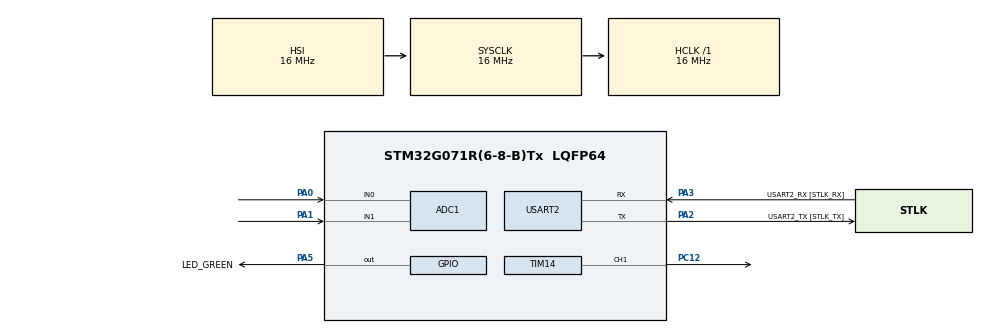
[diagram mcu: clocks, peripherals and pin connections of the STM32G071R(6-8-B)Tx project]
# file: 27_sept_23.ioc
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ADC1.Channel-0\#ChannelRegularConversion=ADC_CHANNEL_0
ADC1.Channel-2\#ChannelRegularConversion=ADC_CHANNEL_1
ADC1.ContinuousConvMode=DISABLE
ADC1.DiscontinuousConvMode=DISABLE
ADC1.NbrOfConversion=2
ADC1.NbrOfConversionFlag=1
ADC1.Rank-0\#ChannelRegularConversion=1
ADC1.Rank-2\#ChannelRegularConversion=2
ADC1.SamplingTime-0\#ChannelRegularConversion=ADC_SAMPLINGTIME_COMMON_1
ADC1.SamplingTime-2\#ChannelRegularConversion=ADC_SAMPLINGTIME_COMMON_1
ADC1.SelectedChannel=ADC_CHANNEL_0|ADC_CHANNEL_1
ADC1.master=1
Mcu.Family=STM32G0
Mcu.Name=STM32G071R(6-8-B)Tx
Mcu.Package=LQFP64
NVIC.TIM14_IRQn=true\:0\:0\:false\:false\:true\:true\:true
PA0.Mode=IN0
PA0.Signal=ADC1_IN0
PA1.Mode=IN1
PA1.Signal=ADC1_IN1
PA13.GPIO_Label=TMS
PA13.Signal=SYS_SWDIO
PA14-BOOT0.GPIO_Label=TCK
PA14-BOOT0.Signal=SYS_SWCLK
PA2.GPIO_Label=USART2_TX [STLK_TX]
PA2.Mode=Asynchronous
PA2.Signal=USART2_TX
PA3.GPIO_Label=USART2_RX [STLK_RX]
PA3.Mode=Asynchronous
PA3.Signal=USART2_RX
PA5.GPIO_Label=LED_GREEN
PA5.GPIO_Speed=GPIO_SPEED_FREQ_HIGH
PA5.Signal=GPIO_Output
PC12.Signal=S_TIM14_CH1
PC13.Signal=SYS_WKUP2
PC14-OSC32_IN\ (PC14).Signal=RCC_OSC32_IN
PC15-OSC32_OUT\ (PC15).Signal=RCC_OSC32_OUT
PF0-OSC_IN\ (PF0).GPIO_Label=MCO
PF0-OSC_IN\ (PF0).Signal=RCC_OSC_IN
ProjectManager.HeapSize=0x200
ProjectManager.StackSize=0x400
ProjectManager.TargetToolchain=STM32CubeIDE
RCC.AHBFreq_Value=16000000
RCC.CortexFreq_Value=16000000
RCC.EXTERNAL_CLOCK_VALUE=12288000
RCC.HCLKFreq_Value=16000000
RCC.HSE_VALUE=8000000
RCC.HSI_VALUE=16000000
RCC.LSE_VALUE=32768
RCC.SYSCLKFreq_VALUE=16000000
RCC.VCOOutputFreq_Value=128000000
SH.S_TIM14_CH1.0=TIM14_CH1,PWM Generation1 CH1
TIM14.Channel=TIM_CHANNEL_1
TIM14.Period=1000
TIM14.Prescaler=16
TIM14.Pulse=499
USART2.VirtualMode-Asynchronous=VM_ASYNC
VP_SYS_VS_DBSignals.Mode=DisableDeadBatterySignals
VP_TIM14_VS_ClockSourceINT.Mode=Enable_Timer
board=NUCLEO-G071RB

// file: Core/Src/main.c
/* USER CODE BEGIN Header */
/**
  ******************************************************************************
  * @file           : main.c
  * @brief          : Main program body
  ******************************************************************************
  * @attention
  *
  * <h2><center>&copy; Copyright (c) 2023 STMicroelectronics.
  * All rights reserved.</center></h2>
  *
  * This software component is licensed by ST under BSD 3-Clause license,
  * the "License"; You may not use this file except in compliance with the
  * License. You may obtain a copy of the License at:
  *                        opensource.org/licenses/BSD-3-Clause
  *
  ******************************************************************************
  */
/* USER CODE END Header */
#include "main.h"

/* USER CODE BEGIN Includes */
#include<stdio.h>
#include<string.h>
/* USER CODE END Includes */

ADC_HandleTypeDef hadc1;

TIM_HandleTypeDef htim14;

UART_HandleTypeDef huart2;

/* USER CODE BEGIN PV */
uint8_t data[] = "\r\n//--------------menu-------------//\r\n1. LED on PWM\r\n2. ADC channel 1\r\n3. ADC channel 2\r\nEnter anything between 1 2 3: ";
char data1[10];
uint16_t channel_0_raw, channel_1_raw;
char msg[10];

ADC_ChannelConfTypeDef sConfig = {0};

//TIM_OC_InitTypeDef sConfigOC = {0};

/* USER CODE END PV */

void SystemClock_Config(void);
static void MX_GPIO_Init(void);
static void MX_TIM14_Init(void);
static void MX_USART2_UART_Init(void);
static void MX_ADC1_Init(void);

/* USER CODE BEGIN 0 */

int switch_case1(int dutyCycle)
{
	TIM_OC_InitTypeDef sConfigOC = {0};
	  htim14.Instance = TIM14;
	  htim14.Init.Prescaler = 16;
	  htim14.Init.CounterMode = TIM_COUNTERMODE_UP;
	  htim14.Init.Period = 1000;
	  htim14.Init.ClockDivision = TIM_CLOCKDIVISION_DIV1;
	  htim14.Init.AutoReloadPreload = TIM_AUTORELOAD_PRELOAD_DISABLE;
	  if (HAL_TIM_Base_Init(&htim14) != HAL_OK)
	  {
		Error_Handler();
	  }
	  if (HAL_TIM_PWM_Init(&htim14) != HAL_OK)
	  {
		Error_Handler();
	  }
	  sConfigOC.OCMode = TIM_OCMODE_PWM1;
	  sConfigOC.Pulse = dutyCycle;
	  sConfigOC.OCPolarity = TIM_OCPOLARITY_HIGH;
	  sConfigOC.OCFastMode = TIM_OCFAST_DISABLE;
	  if (HAL_TIM_PWM_ConfigChannel(&htim14, &sConfigOC, TIM_CHANNEL_1) != HAL_OK)
	  {
		Error_Handler();
	  }

	  HAL_TIM_MspPostInit(&htim14);

	  HAL_TIM_PWM_Start_IT(&htim14, TIM_CHANNEL_1);
}

void switch_case2()
{
	//Get the ADC value from channel_0
	  sConfig.Channel = ADC_CHANNEL_0;
	  sConfig.Rank = ADC_REGULAR_RANK_1;
	  sConfig.SamplingTime = ADC_SAMPLINGTIME_COMMON_1;
	  if (HAL_ADC_ConfigChannel(&hadc1, &sConfig) != HAL_OK)
	  {
		  Error_Handler();
	  }

	  HAL_Delay(1);

	  HAL_ADC_Start(&hadc1);
	  HAL_ADC_PollForConversion(&hadc1, HAL_MAX_DELAY);
	  channel_0_raw = HAL_ADC_GetValue(&hadc1);
	  HAL_ADC_Stop(&hadc1);

	  //Convert to string and print
	  sprintf(msg,"ch_0 = %hu\n\r",channel_0_raw);
	  HAL_UART_Transmit(&huart2,(uint8_t*)msg,strlen(msg), HAL_MAX_DELAY);

	  static round = 0;
	  round++;

	  sprintf(msg,"round=%d\n\r",round);
	  HAL_UART_Transmit(&huart2,(uint8_t*)msg,strlen(msg), HAL_MAX_DELAY);

	  if(channel_0_raw>3000)
	  	  {
		  	  switch_case1(99);
	  	  }
	  	  else{
	  		  HAL_GPIO_WritePin(LED_GREEN_GPIO_Port, LED_GREEN_Pin, 0);
	  	  }

}

void switch_case3()
{
	//Get the ADC value from channel_1
	  sConfig.Channel = ADC_CHANNEL_1;
	  sConfig.Rank = ADC_REGULAR_RANK_1;
	  sConfig.SamplingTime = ADC_SAMPLINGTIME_COMMON_1;
	  if (HAL_ADC_ConfigChannel(&hadc1, &sConfig) != HAL_OK)
	  {
		  Error_Handler();
	  }

	  HAL_ADC_Start(&hadc1);
	  HAL_ADC_PollForConversion(&hadc1, HAL_MAX_DELAY);
	  channel_1_raw = HAL_ADC_GetValue(&hadc1);

	  sprintf(msg,"ch_1 = %hu\r\n",channel_1_raw);
	  HAL_UART_Transmit(&huart2,(uint8_t*)msg,strlen(msg), 10);

	  if(channel_1_raw>3000)
	  {
		  HAL_GPIO_WritePin(LED_GREEN_GPIO_Port, LED_GREEN_Pin, 1);
	  }
	  else{
		  HAL_GPIO_WritePin(LED_GREEN_GPIO_Port, LED_GREEN_Pin, 0);
	  }

}
/* USER CODE END 0 */

int main(void)
{

  /* MCU Configuration--------------------------------------------------------*/

  /* Reset of all peripherals, Initializes the Flash interface and the Systick. */
  HAL_Init();

  /* Configure the system clock */
  SystemClock_Config();

  /* Initialize all configured peripherals */
  MX_GPIO_Init();
  MX_TIM14_Init();
  MX_USART2_UART_Init();
  MX_ADC1_Init();
  /* USER CODE BEGIN 2 */
  HAL_TIM_PWM_Start_IT(&htim14, TIM_CHANNEL_1);

  HAL_UART_Transmit (&huart2, data, sizeof (data), HAL_MAX_DELAY);

  HAL_UART_Receive(&huart2, data1, 10, 5000);

  HAL_UART_Transmit (&huart2, data1, sizeof(data1), HAL_MAX_DELAY);

  char n = data1[0];

  HAL_UART_Transmit (&huart2, n, sizeof(n), HAL_MAX_DELAY);

  /* USER CODE END 2 */

  /* Infinite loop */
  /* USER CODE BEGIN WHILE */
  while (1)
  {

	  switch(n){

	  	  case '1':
	  	  {
	  		  switch_case1(499);
			  HAL_UART_Transmit (&huart2, "Switch Case1\r\n", sizeof("Switch Case1\r\n"), HAL_MAX_DELAY);
			  break;
	  	  }

	  	  case '2':
	  		HAL_UART_Transmit (&huart2, "Switch Case2\r\n", sizeof("Switch Case2\r\n"), HAL_MAX_DELAY);
	  		  while(1)
	  		  {
	  			switch_case2();
	  			sprintf(msg,"I am stuck\r\n",channel_1_raw);
	  			HAL_UART_Transmit(&huart2,(uint8_t*)msg,strlen(msg), HAL_MAX_DELAY);
	  		  }
	  		  break;

	  	  case '3':
	  		HAL_UART_Transmit (&huart2, "Switch Case3\r\n", sizeof("Switch Case3\r\n"), HAL_MAX_DELAY);
	  		  while(1)
	  		  {
	  			  switch_case3();
	  		  }
	  		  break;

	  	  default :
	  		HAL_UART_Transmit (&huart2,"Error\r\n", sizeof("Error\r\n"),1000);
	  		break;
	  }
    /* USER CODE END WHILE */

  }
}

void SystemClock_Config(void)
{
  RCC_OscInitTypeDef RCC_OscInitStruct = {0};
  RCC_ClkInitTypeDef RCC_ClkInitStruct = {0};
  RCC_PeriphCLKInitTypeDef PeriphClkInit = {0};

  /** Configure the main internal regulator output voltage
  */
  HAL_PWREx_ControlVoltageScaling(PWR_REGULATOR_VOLTAGE_SCALE1);
  /** Initializes the RCC Oscillators according to the specified parameters
  * in the RCC_OscInitTypeDef structure.
  */
  RCC_OscInitStruct.OscillatorType = RCC_OSCILLATORTYPE_HSI;
  RCC_OscInitStruct.HSIState = RCC_HSI_ON;
  RCC_OscInitStruct.HSIDiv = RCC_HSI_DIV1;
  RCC_OscInitStruct.HSICalibrationValue = RCC_HSICALIBRATION_DEFAULT;
  RCC_OscInitStruct.PLL.PLLState = RCC_PLL_NONE;
  if (HAL_RCC_OscConfig(&RCC_OscInitStruct) != HAL_OK)
  {
    Error_Handler();
  }
  /** Initializes the CPU, AHB and APB buses clocks
  */
  RCC_ClkInitStruct.ClockType = RCC_CLOCKTYPE_HCLK|RCC_CLOCKTYPE_SYSCLK
                              |RCC_CLOCKTYPE_PCLK1;
  RCC_ClkInitStruct.SYSCLKSource = RCC_SYSCLKSOURCE_HSI;
  RCC_ClkInitStruct.AHBCLKDivider = RCC_SYSCLK_DIV1;
  RCC_ClkInitStruct.APB1CLKDivider = RCC_HCLK_DIV1;

  if (HAL_RCC_ClockConfig(&RCC_ClkInitStruct, FLASH_LATENCY_0) != HAL_OK)
  {
    Error_Handler();
  }
  /** Initializes the peripherals clocks
  */
  PeriphClkInit.PeriphClockSelection = RCC_PERIPHCLK_USART2|RCC_PERIPHCLK_ADC;
  PeriphClkInit.Usart2ClockSelection = RCC_USART2CLKSOURCE_PCLK1;
  PeriphClkInit.AdcClockSelection = RCC_ADCCLKSOURCE_SYSCLK;
  if (HAL_RCCEx_PeriphCLKConfig(&PeriphClkInit) != HAL_OK)
  {
    Error_Handler();
  }
}

static void MX_ADC1_Init(void)
{

  ADC_ChannelConfTypeDef sConfig = {0};

  /** Configure the global features of the ADC (Clock, Resolution, Data Alignment and number of conversion)
  */
  hadc1.Instance = ADC1;
  hadc1.Init.ClockPrescaler = ADC_CLOCK_SYNC_PCLK_DIV2;
  hadc1.Init.Resolution = ADC_RESOLUTION_12B;
  hadc1.Init.DataAlign = ADC_DATAALIGN_RIGHT;
  hadc1.Init.ScanConvMode = ADC_SCAN_ENABLE;
  hadc1.Init.EOCSelection = ADC_EOC_SINGLE_CONV;
  hadc1.Init.LowPowerAutoWait = DISABLE;
  hadc1.Init.LowPowerAutoPowerOff = DISABLE;
  hadc1.Init.ContinuousConvMode = DISABLE;
  hadc1.Init.NbrOfConversion = 2;
  hadc1.Init.DiscontinuousConvMode = DISABLE;
  hadc1.Init.ExternalTrigConv = ADC_SOFTWARE_START;
  hadc1.Init.ExternalTrigConvEdge = ADC_EXTERNALTRIGCONVEDGE_NONE;
  hadc1.Init.DMAContinuousRequests = DISABLE;
  hadc1.Init.Overrun = ADC_OVR_DATA_PRESERVED;
  hadc1.Init.SamplingTimeCommon1 = ADC_SAMPLETIME_1CYCLE_5;
  hadc1.Init.SamplingTimeCommon2 = ADC_SAMPLETIME_1CYCLE_5;
  hadc1.Init.OversamplingMode = DISABLE;
  hadc1.Init.TriggerFrequencyMode = ADC_TRIGGER_FREQ_HIGH;
  if (HAL_ADC_Init(&hadc1) != HAL_OK)
  {
    Error_Handler();
  }
  /** Configure Regular Channel
  */
  sConfig.Channel = ADC_CHANNEL_0;
  sConfig.Rank = ADC_REGULAR_RANK_1;
  sConfig.SamplingTime = ADC_SAMPLINGTIME_COMMON_1;
  if (HAL_ADC_ConfigChannel(&hadc1, &sConfig) != HAL_OK)
  {
    Error_Handler();
  }
  /** Configure Regular Channel
  */
  sConfig.Channel = ADC_CHANNEL_1;
  sConfig.Rank = ADC_REGULAR_RANK_2;
  if (HAL_ADC_ConfigChannel(&hadc1, &sConfig) != HAL_OK)
  {
    Error_Handler();
  }

}

static void MX_TIM14_Init(void)
{

  TIM_OC_InitTypeDef sConfigOC = {0};

  htim14.Instance = TIM14;
  htim14.Init.Prescaler = 16;
  htim14.Init.CounterMode = TIM_COUNTERMODE_UP;
  htim14.Init.Period = 1000;
  htim14.Init.ClockDivision = TIM_CLOCKDIVISION_DIV1;
  htim14.Init.AutoReloadPreload = TIM_AUTORELOAD_PRELOAD_DISABLE;
  if (HAL_TIM_Base_Init(&htim14) != HAL_OK)
  {
    Error_Handler();
  }
  if (HAL_TIM_PWM_Init(&htim14) != HAL_OK)
  {
    Error_Handler();
  }
  sConfigOC.OCMode = TIM_OCMODE_PWM1;
  sConfigOC.Pulse = 0;
  sConfigOC.OCPolarity = TIM_OCPOLARITY_HIGH;
  sConfigOC.OCFastMode = TIM_OCFAST_DISABLE;
  if (HAL_TIM_PWM_ConfigChannel(&htim14, &sConfigOC, TIM_CHANNEL_1) != HAL_OK)
  {
    Error_Handler();
  }
  HAL_TIM_MspPostInit(&htim14);

}

static void MX_USART2_UART_Init(void)
{

  huart2.Instance = USART2;
  huart2.Init.BaudRate = 115200;
  huart2.Init.WordLength = UART_WORDLENGTH_8B;
  huart2.Init.StopBits = UART_STOPBITS_1;
  huart2.Init.Parity = UART_PARITY_NONE;
  huart2.Init.Mode = UART_MODE_TX_RX;
  huart2.Init.HwFlowCtl = UART_HWCONTROL_NONE;
  huart2.Init.OverSampling = UART_OVERSAMPLING_16;
  huart2.Init.OneBitSampling = UART_ONE_BIT_SAMPLE_DISABLE;
  huart2.Init.ClockPrescaler = UART_PRESCALER_DIV1;
  huart2.AdvancedInit.AdvFeatureInit = UART_ADVFEATURE_NO_INIT;
  if (HAL_UART_Init(&huart2) != HAL_OK)
  {
    Error_Handler();
  }
  if (HAL_UARTEx_SetTxFifoThreshold(&huart2, UART_TXFIFO_THRESHOLD_1_8) != HAL_OK)
  {
    Error_Handler();
  }
  if (HAL_UARTEx_SetRxFifoThreshold(&huart2, UART_RXFIFO_THRESHOLD_1_8) != HAL_OK)
  {
    Error_Handler();
  }
  if (HAL_UARTEx_DisableFifoMode(&huart2) != HAL_OK)
  {
    Error_Handler();
  }

}

static void MX_GPIO_Init(void)
{
  GPIO_InitTypeDef GPIO_InitStruct = {0};

  /* GPIO Ports Clock Enable */
  __HAL_RCC_GPIOC_CLK_ENABLE();
  __HAL_RCC_GPIOF_CLK_ENABLE();
  __HAL_RCC_GPIOA_CLK_ENABLE();

  /*Configure GPIO pin Output Level */
  HAL_GPIO_WritePin(LED_GREEN_GPIO_Port, LED_GREEN_Pin, GPIO_PIN_RESET);

  /*Configure GPIO pin : LED_GREEN_Pin */
  GPIO_InitStruct.Pin = LED_GREEN_Pin;
  GPIO_InitStruct.Mode = GPIO_MODE_OUTPUT_PP;
  GPIO_InitStruct.Pull = GPIO_NOPULL;
  GPIO_InitStruct.Speed = GPIO_SPEED_FREQ_HIGH;
  HAL_GPIO_Init(LED_GREEN_GPIO_Port, &GPIO_InitStruct);

}

void Error_Handler(void)
{
  __disable_irq();
  while (1)
  {
  }
}

/************************ (C) COPYRIGHT STMicroelectronics *****END OF FILE****/
